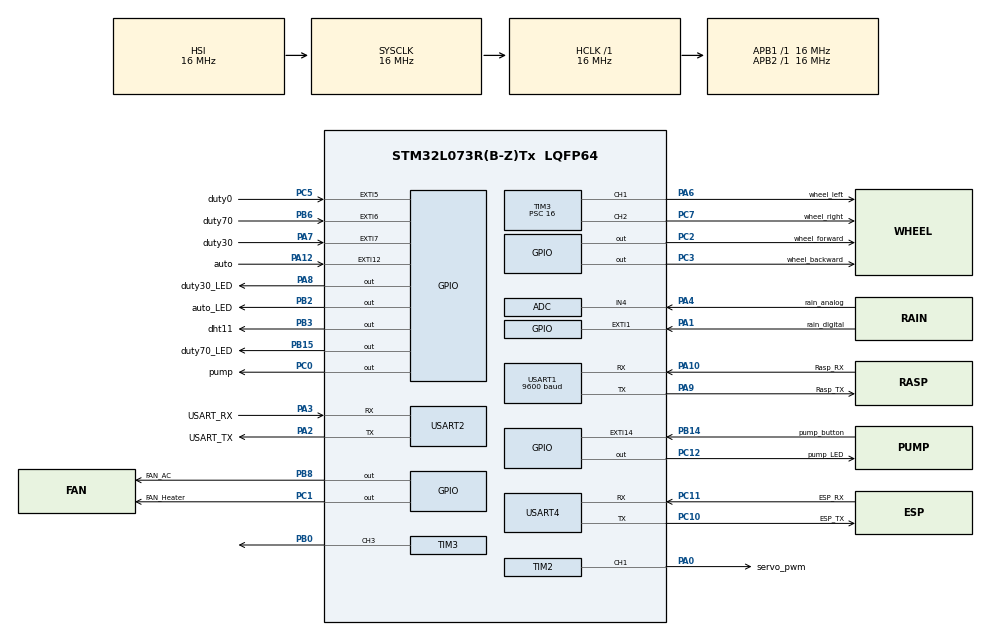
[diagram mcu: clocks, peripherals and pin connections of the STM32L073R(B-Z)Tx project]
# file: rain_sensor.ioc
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Mcu.Family=STM32L0
Mcu.Name=STM32L073R(B-Z)Tx
Mcu.Package=LQFP64
NVIC.EXTI0_1_IRQn=true\:0\:0\:false\:false\:true\:true\:true\:true
NVIC.EXTI4_15_IRQn=true\:0\:0\:false\:false\:true\:true\:true\:true
NVIC.USART1_IRQn=true\:0\:0\:false\:false\:true\:true\:true\:true
NVIC.USART4_5_IRQn=true\:0\:0\:false\:false\:true\:true\:true\:true
PA0.GPIO_Label=servo_pwm
PA0.Signal=S_TIM2_CH1
PA1.GPIO_Label=rain_digital
PA1.GPIO_ModeDefaultEXTI=GPIO_MODE_IT_RISING_FALLING
PA1.Signal=GPXTI1
PA10.GPIO_Label=Rasp_RX
PA10.Mode=Asynchronous
PA10.Signal=USART1_RX
PA12.GPIO_Label=auto
PA12.GPIO_PuPd=GPIO_PULLUP
PA12.Signal=GPXTI12
PA13.GPIO_Label=TMS
PA13.Mode=Serial_Wire
PA13.Signal=SYS_SWDIO
PA14.GPIO_Label=TCK
PA14.Mode=Serial_Wire
PA14.Signal=SYS_SWCLK
PA2.GPIO_Label=USART_TX
PA2.Mode=Asynchronous
PA2.Signal=USART2_TX
PA3.GPIO_Label=USART_RX
PA3.Mode=Asynchronous
PA3.Signal=USART2_RX
PA4.GPIO_Label=rain_analog
PA4.Mode=IN4
PA4.Signal=ADC_IN4
PA6.GPIO_Label=wheel_left
PA6.Signal=S_TIM3_CH1
PA7.GPIO_Label=duty30
PA7.GPIO_PuPd=GPIO_PULLUP
PA7.Signal=GPXTI7
PA8.GPIO_Label=duty30_LED
PA8.Signal=GPIO_Output
PA9.GPIO_Label=Rasp_TX
PA9.Mode=Asynchronous
PA9.Signal=USART1_TX
PB0.Signal=S_TIM3_CH3
PB14.GPIO_Label=pump_button
PB14.GPIO_PuPd=GPIO_PULLUP
PB14.Signal=GPXTI14
PB15.GPIO_Label=duty70_LED
PB15.Signal=GPIO_Output
PB2.GPIO_Label=auto_LED
PB2.Signal=GPIO_Output
PB3.GPIO_Label=dht11
PB3.Signal=GPIO_Output
PB6.GPIO_Label=duty70
PB6.GPIO_PuPd=GPIO_PULLUP
PB6.Signal=GPXTI6
PB8.GPIO_Label=FAN_AC
PB8.Signal=GPIO_Output
PC0.GPIO_Label=pump
PC0.Signal=GPIO_Output
PC1.GPIO_Label=FAN_Heater
PC1.Signal=GPIO_Output
PC10.GPIO_Label=ESP_TX
PC10.Mode=Asynchronous
PC10.Signal=USART4_TX
PC11.GPIO_Label=ESP_RX
PC11.Mode=Asynchronous
PC11.Signal=USART4_RX
PC12.GPIO_Label=pump_LED
PC12.Signal=GPIO_Output
PC14-OSC32_IN.Mode=LSE-External-Oscillator
PC14-OSC32_IN.Signal=RCC_OSC32_IN
PC15-OSC32_OUT.Mode=LSE-External-Oscillator
PC15-OSC32_OUT.Signal=RCC_OSC32_OUT
PC2.GPIO_Label=wheel_forward
PC2.Signal=GPIO_Output
PC3.GPIO_Label=wheel_backward
PC3.Signal=GPIO_Output
PC5.GPIO_Label=duty0
PC5.GPIO_PuPd=GPIO_PULLUP
PC5.Signal=GPXTI5
PC7.GPIO_Label=wheel_right
PC7.Signal=S_TIM3_CH2
PH0-OSC_IN.GPIO_Label=MCO
PH0-OSC_IN.Mode=HSE-External-Clock-Source
PH0-OSC_IN.Signal=RCC_OSC_IN
ProjectManager.HeapSize=0x200
ProjectManager.StackSize=0x400
ProjectManager.TargetToolchain=STM32CubeIDE
RCC.AHBFreq_Value=16000000
RCC.APB1Freq_Value=16000000
RCC.APB1TimFreq_Value=16000000
RCC.APB2Freq_Value=16000000
RCC.APB2TimFreq_Value=16000000
RCC.HCLKFreq_Value=16000000
RCC.HSE_VALUE=8000000
RCC.HSI16_VALUE=16000000
RCC.HSI48_VALUE=48000000
RCC.HSI_VALUE=16000000
RCC.MSI_VALUE=2097000
RCC.SYSCLKFreq_VALUE=16000000
RCC.SYSCLKSource=RCC_SYSCLKSOURCE_HSI
RCC.VCOOutputFreq_Value=48000000
SH.S_TIM2_CH1.0=TIM2_CH1,PWM Generation1 CH1
SH.S_TIM3_CH1.0=TIM3_CH1,PWM Generation1 CH1
SH.S_TIM3_CH2.0=TIM3_CH2,PWM Generation2 CH2
SH.S_TIM3_CH3.0=TIM3_CH3,PWM Generation3 CH3
TIM2.Channel-PWM\ Generation1\ CH1=TIM_CHANNEL_1
TIM2.Period=19999
TIM2.Prescaler=16
TIM3.Channel-PWM\ Generation1\ CH1=TIM_CHANNEL_1
TIM3.Channel-PWM\ Generation2\ CH2=TIM_CHANNEL_2
TIM3.Channel-PWM\ Generation3\ CH3=TIM_CHANNEL_3
TIM3.Period=1000
TIM3.Prescaler=16
TIM6.Prescaler=15
USART1.BaudRate=9600
USART1.VirtualMode-Asynchronous=VM_ASYNC
USART2.VirtualMode-Asynchronous=VM_ASYNC
USART4.VirtualMode-Asynchronous=VM_ASYNC
VP_TIM2_VS_ClockSourceINT.Mode=Internal
VP_TIM6_VS_ClockSourceINT.Mode=Enable_Timer
board=NUCLEO-L073RZ

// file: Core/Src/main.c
/* USER CODE BEGIN Header */
/**
  ******************************************************************************
  * @file           : main.c
  * @brief          : Main program body
  ******************************************************************************
  * @attention
  *
  * Copyright (c) 2026 STMicroelectronics.
  * All rights reserved.
  *
  * This software is licensed under terms that can be found in the LICENSE file
  * in the root directory of this software component.
  * If no LICENSE file comes with this software, it is provided AS-IS.
  *
  ******************************************************************************
  */
/* USER CODE END Header */
#include "main.h"
#include "adc.h"
#include "tim.h"
#include "usart.h"
#include "gpio.h"

/* USER CODE BEGIN Includes */
#include "sensor_interface.h"
#include "wiper_servo.h"
#include "rain_sensor.h"
#include <stdint.h>
#include "led_control.h"
#include "dht11.h"

#include <stdio.h>
#include <string.h>
#include <stdlib.h>
/* USER CODE END Includes */

/* USER CODE BEGIN PD */
#define BTN_DEBOUNCE_MS 60   // 인터럽트 바운스 억제(단순 필터)

/* USER CODE END PD */

/* USER CODE BEGIN PV */
WiperServo_t g_wiper;
WiperServo_t *pWiper;
uint8_t rx_data;

// 버튼별 마지막 인터럽트 시간(디바운스)
static volatile uint32_t g_irq_last_30 = 0;
static volatile uint32_t g_irq_last_70 = 0;
static volatile uint32_t g_irq_last_0  = 0;
static volatile uint32_t g_irq_last_auto = 0;
static volatile uint32_t g_irq_last_washer = 0;

//통신코드 시작
#define RX_BUF_SIZE 64
volatile uint8_t new_control_received = 0;

char rx_buf[RX_BUF_SIZE];
uint8_t rx_idx = 0;
uint8_t rx_byte;

// ESP32로부터 받을 제어 값
int32_t target_speed = 0;
int32_t target_steering = 0;
int32_t target_speed1 = 0; // 추가
int32_t target_speed2 = 0; // 추가
int32_t target_off = 0;    // 추가
int32_t target_auto = 0;   // 추가
int32_t target_water = 0;  // 추가

volatile uint8_t data_ready_flag = 0; // 데이터 수신 완료 플래그 추가
//통신코드 끝

// esp 웹서버용 전역변수
int32_t btn_speed_1 = 0;
int32_t btn_speed_2 = 0;
int32_t btn_off = 0;
int32_t btn_auto = 0;
int32_t btn_water =0;

/* USER CODE END PV */

void SystemClock_Config(void);

/* USER CODE BEGIN 0 */

/**
 * @brief EXTI 콜백 (버튼 누르는 순간만 들어옴)
 *        - STOP > FAST > SLOW 우선순위는 "동시에 눌렀을 때"만 의미가 있는데,
 *          인터럽트는 핀별로 들어오니 여기서는 눌린 버튼에 해당하는 모드로 즉시 전환.
 *        - 바운스는 now-last < BTN_DEBOUNCE_MS 이면 무시하는 방식.
 */

void HAL_GPIO_EXTI_Callback(uint16_t GPIO_Pin){
   if (GPIO_Pin == RAIN_D0_PIN){ // D0에서 인터럽트가 발생했다면
      if (HAL_GPIO_ReadPin(RAIN_D0_PORT, RAIN_D0_PIN) == GPIO_PIN_RESET){
         is_raining = true; // 비 오는 상태
         }
      else{
         is_raining = false; // 건조 상태
      }
   }
   uint32_t now = HAL_GetTick();

   if (GPIO_Pin == duty0_Pin) {                // STOP (PC5)
      if ((now - g_irq_last_0) < BTN_DEBOUNCE_MS) return;
      g_irq_last_0 = now;
      WiperServo_SetMode(&g_wiper, WIPER_MODE_STOP, now);
      LED_Control_Update(LED_MODE_OFF);
   }
   else if (GPIO_Pin == duty70_Pin) {          // FAST (PC4)
      if ((now - g_irq_last_70) < BTN_DEBOUNCE_MS) return;
       g_irq_last_70 = now;
       WiperServo_SetMode(&g_wiper, WIPER_MODE_FAST, now);
       LED_Control_Update(LED_MODE_FAST);
   }
   else if (GPIO_Pin == duty30_Pin) {          // SLOW (PA7)
      if ((now - g_irq_last_30) < BTN_DEBOUNCE_MS) return;
       g_irq_last_30 = now;
       WiperServo_SetMode(&g_wiper, WIPER_MODE_SLOW, now);
       LED_Control_Update(LED_MODE_SLOW);
   }
   else if (GPIO_Pin == auto_Pin) {            // AUTO 버튼
      //LED_Control_Update(LED_MODE_AUTO);      // AUTO LED 켜기
      if((now - g_irq_last_auto) < BTN_DEBOUNCE_MS) return;
         g_irq_last_auto = now;
         // active-low 구성(Pull-up) 기준: 눌리면 RESET
         if (HAL_GPIO_ReadPin(auto_GPIO_Port, auto_Pin) == GPIO_PIN_RESET) {
            AutoButton_Toggle();      // 여기서 AUTO ON/OFF만 바꿈
         }
      LED_Control_Update(LED_MODE_AUTO);      // AUTO LED 켜기
   }
   else if (GPIO_Pin == pump_button_Pin ){ 		// pump 버튼
	   if ((now - g_irq_last_washer) < BTN_DEBOUNCE_MS) return;
	   g_irq_last_washer = now;

	   HAL_GPIO_WritePin(GPIOC, GPIO_PIN_0, GPIO_PIN_SET); // PC0 HIGH → 릴레이 ON

	   LED_Control_Update(LED_MODE_PUMP); // 펌프 버튼 누르면 불들어옴--확인용

   }

}

void HAL_UART_RxCpltCallback(UART_HandleTypeDef *huart) {
	if (huart->Instance == USART1) {
		// 현재 모드가 AUTO일 때만 라즈베리파이의 카메라 인식 결과를 반영
		if (LED_Control_GetCurrentMode() == LED_MODE_AUTO) {
			printf("rasp_start");
			// 데이터가 아스키(ASCII) 문자로 올 경우를 대비해 '0', '1', '2'로 체크
			if (rx_data == '0' || rx_data == 0) {
				printf("rasp0");
				WiperServo_SetMode(&g_wiper, WIPER_MODE_STOP, HAL_GetTick());
			}
			else if (rx_data == '1' || rx_data == 1) {
				printf("rasp1");
				WiperServo_SetMode(&g_wiper, WIPER_MODE_SLOW, HAL_GetTick());
			}
			else if (rx_data == '2' || rx_data == 2) {
				printf("rasp2");
				WiperServo_SetMode(&g_wiper, WIPER_MODE_FAST, HAL_GetTick());
			}
		}
		// 다음 데이터를 받기 위해 인터럽트 재활성화 (중요!)
		HAL_UART_Receive_IT(&huart1, &rx_data, 1);
	}
    else if (huart->Instance == USART4) { // ESP32가 연결된 UART3일 경우
		// 종료 문자를 만나면 (데이터 끝)
		if (rx_byte == '>' || rx_byte == '\n' || rx_byte == '\r') {
			rx_buf[rx_idx] = '\0'; // 문자열 끝 표시
			data_ready_flag = 1;   // 메인 루프에 알림
		}
		// 시작 문자를 만나면 (데이터 시작)
		else if (rx_byte == '<') {
			rx_idx = 0;
		}
		// 일반 데이터인 경우 버퍼에 저장
		else if (rx_idx < RX_BUF_SIZE - 1) {
			rx_buf[rx_idx++] = rx_byte;
		}

		// 다음 1바이트를 받기 위해 다시 인터럽트 활성화 (필수!)
		HAL_UART_Receive_IT(&huart4, &rx_byte, 1);
	}

}

/* USER CODE END 0 */

int main(void)
{

  /* MCU Configuration--------------------------------------------------------*/

  /* Reset of all peripherals, Initializes the Flash interface and the Systick. */
  HAL_Init();

  /* Configure the system clock */
  SystemClock_Config();

  /* Initialize all configured peripherals */
  MX_GPIO_Init();
  MX_USART2_UART_Init();
  MX_ADC_Init();
  MX_TIM2_Init();
  MX_USART1_UART_Init();
  MX_TIM3_Init();
  MX_USART4_UART_Init();
  MX_TIM6_Init();
  /* USER CODE BEGIN 2 */
  RainSensor_Init(&hadc);
  WiperServo_Init(&g_wiper, &htim2, TIM_CHANNEL_1);
  WiperServo_Start(&g_wiper);
  AutoButton_Init();
  DHT11_Init();

  printf("System Started. Waiting for ESP32...\r\n"); // 디버깅용 코드

  // UART4(ESP32 연결용) 인터럽트 수신 시작
  HAL_UART_Receive_IT(&huart4, &rx_byte, 1);

  // UART2
  // 1. PWM 출력 시작 (중요!)
  HAL_TIM_PWM_Start(&htim3, TIM_CHANNEL_1);
  HAL_TIM_PWM_Start(&htim3, TIM_CHANNEL_3);

  // UART1
  HAL_UART_Receive_IT(&huart1, &rx_data, 1);

  // 시작은 STOP 상태로 두고 싶으면:
  WiperServo_SetMode(&g_wiper, WIPER_MODE_STOP, HAL_GetTick());

  //SensorInterface_Init(&hadc, &htim2);
  //DHT11_Init();

  //UART 신호 받는 부분
  //HAL_UART_Receive_IT(&huart1, &rx_data, 1); // Raspberry 신호 수신
  //HAL_UART_Receive_IT(&huart4, &rx_data, 1); // ESP32 신호 수신 ====================> 태정이랑 같이 작업 할 부분 !!!
  /* USER CODE END 2 */

  /* Infinite loop */
  while (1)
  {

    /* USER CODE BEGIN 3 */
	  //printf("humidity: %d\r\n",DHT11_SensorData.Humidity);
	  //printf("temperature: %d\r\n",DHT11_SensorData.Temperature);

	uint32_t now = HAL_GetTick();

   // 1. 현재 모드가 AUTO인지 확인
   if (LED_Control_GetCurrentMode() == LED_MODE_AUTO) {
    SensorInterface_SyncRainToServo(&g_wiper); // 빗물값에 따라 속도 제어
   }
	  //printf("humidity: 112%d\r\n",DHT11_SensorData.Humidity);
	  //printf("temperature: 123%d\r\n",DHT11_SensorData.Temperature);
	//printf("DHT value: %d\n",DHT11_ReadData());

   // 자동 냉난방 시스템
   //uint8_t ok = DHT11_ReadData();
   //printf("DHT ok=%d | H=%d | T=%d\r\n", ok, DHT11_SensorData.Humidity, DHT11_SensorData.Temperature);

   if (DHT11_ReadData()){
    FAN_Control();
    HAL_Delay(500);
   }

   // 디버깅용
   //printf("humidity: 113332%d\r\n",DHT11_SensorData.Humidity);
   //printf("temperature: 133323%d\r\n",DHT11_SensorData.Temperature);

   //HAL_Delay(3000);

   RainSensor_ReadPercentage();

   // 4. 와이퍼 서보 실제 구동 (주기적 호출 필수)
   WiperServo_Task(&g_wiper, now);

   // 펌프 제어 코드. 핀맵만 설정해주면 자동으로 펌프작동됨. 스위치를 눌러서 작동하도록 수정해야함.
   //HAL_GPIO_WritePin(GPIOC, GPIO_PIN_0, GPIO_PIN_SET); // PC0 HIGH → 릴레이 ON
   //HAL_GPIO_WritePin(GPIOC, GPIO_PIN_0, GPIO_PIN_SET); // PC0 HIGH → 릴레이 ON
   //HAL_Delay(5000);
   //HAL_GPIO_WritePin(GPIOC, GPIO_PIN_0, GPIO_PIN_RESET); // PC0 HIGH → 릴레이 ON
   //HAL_Delay(5000);

   /*if (data_ready_flag) {
	  // 데이터 포맷: "속도,조향,sp1,sp2,off,auto,water"
	  // 예: "100,-20,1,0,0,1,50"

	  // sscanf로 7개의 값을 순서대로 파싱하여 변수에 저장
	  if (sscanf(rx_buf, "%ld,%ld,%ld,%ld,%ld,%ld,%ld",
				 &target_speed, &target_steering,
				 &target_speed1, &target_speed2,
				 &target_off, &target_auto, &target_water) == 7) {

		  // 1. 모터 제어는 기존대로 speed와 steering만 사용해서 즉시 반영
		  Update_Motor_Control(target_speed, target_steering);

		  // 2. 디버그 출력 (7개 값 모두 확인)
		  printf("RX: Spd:%ld, Str:%ld, S1:%ld, S2:%ld, Off:%ld, Auto:%ld, Wat:%ld\r\n",
				 target_speed, target_steering,
				 target_speed1, target_speed2,
				 target_off, target_auto, target_water);

		  // 3. (옵션) 추가된 변수에 따른 동작이 필요하면 여기에 작성
		  // 예: if (target_auto == 1) { ... }
	  }

	  data_ready_flag = 0;
	  rx_idx = 0;
  }*/
   /* USER CODE BEGIN 3 */
      // ... (기존 코드 생략) ...

      // UART 데이터 수신 완료 시 처리
   if (data_ready_flag) {
           // [중요] 이전 상태를 기억하기 위한 정적 변수 선언
           // static 변수는 함수가 종료되어도 값이 유지됩니다.
           static int32_t prev_speed = 0;
           static int32_t prev_steering = 0;
           static int32_t prev_speed1 = 0;
           static int32_t prev_speed2 = 0;
           static int32_t prev_off = 0;
           static int32_t prev_auto = 0;
           static int32_t prev_water = 0;

           // 데이터 파싱
           if (sscanf(rx_buf, "%ld,%ld,%ld,%ld,%ld,%ld,%ld",
                      &target_speed, &target_steering,
                      &target_speed1, &target_speed2,
                      &target_off, &target_auto, &target_water) == 7) {

               // 1. 모터 제어 (값이 바뀌었을 때만 업데이트)
               if (target_speed != prev_speed || target_steering != prev_steering) {
                   Update_Motor_Control(target_speed, target_steering);
                   prev_speed = target_speed;
                   prev_steering = target_steering;
               }

               uint32_t current_time = HAL_GetTick();

               // 2. 와이퍼 모드 제어 (0 -> 1 로 변하는 순간만 동작)

               // (1) 정지 명령
               if (target_off == 1 && prev_off == 0) {
                   WiperServo_SetMode(&g_wiper, WIPER_MODE_STOP, current_time);
                   LED_Control_Update(LED_MODE_OFF);
                   printf("CMD: Wiper STOP (Executed)\r\n");
               }
               prev_off = target_off; // 현재 상태 저장

               // (2) 고속 명령
               if (target_speed2 == 1 && prev_speed2 == 0) {
                   WiperServo_SetMode(&g_wiper, WIPER_MODE_FAST, current_time);
                   LED_Control_Update(LED_MODE_FAST);
                   printf("CMD: Wiper FAST (Executed)\r\n");
               }
               prev_speed2 = target_speed2;

               // (3) 저속 명령
               if (target_speed1 == 1 && prev_speed1 == 0) {
                   WiperServo_SetMode(&g_wiper, WIPER_MODE_SLOW, current_time);
                   LED_Control_Update(LED_MODE_SLOW);
                   printf("CMD: Wiper SLOW (Executed)\r\n");
               }
               prev_speed1 = target_speed1;

               // 3. AUTO 모드 (가장 중요: 0->1 변하는 순간 한 번만 토글)
               if (target_auto == 1 && prev_auto == 0) {
                   AutoButton_Toggle();
                   LED_Control_Update(LED_MODE_AUTO);
                   printf("CMD: Auto Mode Toggle (Executed)\r\n");
               }
               prev_auto = target_auto;

               // 4. 워셔액 펌프 (상태가 변했을 때만 GPIO 쓰기)
               if (target_water != prev_water) {
                   if (target_water == 1) {
                       HAL_GPIO_WritePin(GPIOC, GPIO_PIN_0, GPIO_PIN_SET); // ON
                   } else {
                       // 펌프 끌 때, 물리 버튼이 안 눌려있는지 체크(안전장치)
                       if(HAL_GPIO_ReadPin(pump_button_GPIO_Port, pump_button_Pin) != GPIO_PIN_RESET) {
                           HAL_GPIO_WritePin(GPIOC, GPIO_PIN_0, GPIO_PIN_RESET); // OFF
                       }
                   }
                   prev_water = target_water;
               }
           }

           // 수신 플래그 초기화
           data_ready_flag = 0;
           rx_idx = 0;
       }
  }
  /* USER CODE END 3 */
}

void SystemClock_Config(void)
{
  RCC_OscInitTypeDef RCC_OscInitStruct = {0};
  RCC_ClkInitTypeDef RCC_ClkInitStruct = {0};
  RCC_PeriphCLKInitTypeDef PeriphClkInit = {0};

  /** Configure the main internal regulator output voltage
  */
  __HAL_PWR_VOLTAGESCALING_CONFIG(PWR_REGULATOR_VOLTAGE_SCALE1);

  /** Initializes the RCC Oscillators according to the specified parameters
  * in the RCC_OscInitTypeDef structure.
  */
  RCC_OscInitStruct.OscillatorType = RCC_OSCILLATORTYPE_HSI;
  RCC_OscInitStruct.HSIState = RCC_HSI_ON;
  RCC_OscInitStruct.HSICalibrationValue = RCC_HSICALIBRATION_DEFAULT;
  RCC_OscInitStruct.PLL.PLLState = RCC_PLL_NONE;
  if (HAL_RCC_OscConfig(&RCC_OscInitStruct) != HAL_OK)
  {
    Error_Handler();
  }

  /** Initializes the CPU, AHB and APB buses clocks
  */
  RCC_ClkInitStruct.ClockType = RCC_CLOCKTYPE_HCLK|RCC_CLOCKTYPE_SYSCLK
                              |RCC_CLOCKTYPE_PCLK1|RCC_CLOCKTYPE_PCLK2;
  RCC_ClkInitStruct.SYSCLKSource = RCC_SYSCLKSOURCE_HSI;
  RCC_ClkInitStruct.AHBCLKDivider = RCC_SYSCLK_DIV1;
  RCC_ClkInitStruct.APB1CLKDivider = RCC_HCLK_DIV1;
  RCC_ClkInitStruct.APB2CLKDivider = RCC_HCLK_DIV1;

  if (HAL_RCC_ClockConfig(&RCC_ClkInitStruct, FLASH_LATENCY_0) != HAL_OK)
  {
    Error_Handler();
  }
  PeriphClkInit.PeriphClockSelection = RCC_PERIPHCLK_USART1|RCC_PERIPHCLK_USART2;
  PeriphClkInit.Usart1ClockSelection = RCC_USART1CLKSOURCE_PCLK2;
  PeriphClkInit.Usart2ClockSelection = RCC_USART2CLKSOURCE_PCLK1;
  if (HAL_RCCEx_PeriphCLKConfig(&PeriphClkInit) != HAL_OK)
  {
    Error_Handler();
  }
}

/* USER CODE BEGIN 4 */
int _write(int file, char *ptr, int len)
{
    HAL_UART_Transmit(&huart2, (uint8_t *)ptr, len, HAL_MAX_DELAY);
    return len;
}

void Update_Motor_Control(int32_t raw_speed, int32_t raw_steering) {
    // 1. 전진/후진 방향 결정 및 절대값 변환
    int32_t abs_speed = raw_speed;

    if (raw_speed >= 0) {
        // 전진 모드 (Speed: 0 ~ 100)
        HAL_GPIO_WritePin(GPIOC, GPIO_PIN_2, GPIO_PIN_SET);   // DIR A
        HAL_GPIO_WritePin(GPIOC, GPIO_PIN_3, GPIO_PIN_RESET); // DIR B
    } else {
        // 후진 모드 (Speed: -100 ~ 0)
        HAL_GPIO_WritePin(GPIOC, GPIO_PIN_2, GPIO_PIN_RESET);
        HAL_GPIO_WritePin(GPIOC, GPIO_PIN_3, GPIO_PIN_SET);
        abs_speed = -raw_speed; // 계산을 위해 양수로 변환
    }

    // 2. 기본 속도 설정
    int32_t left_pwr = abs_speed;
    int32_t right_pwr = abs_speed;

    // 3. 조향 로직 적용 (안쪽 바퀴 감속 방식)
    // raw_steering: -100(좌) ~ 0(직진) ~ +100(우)
    if (raw_steering > 0) {
        // 우회전: 오른쪽 바퀴를 감속 (steering 값만큼 뺌)
        right_pwr = abs_speed - raw_steering;
    }
    else if (raw_steering < 0) {
        // 좌회전: 왼쪽 바퀴를 감속 (steering이 음수이므로 더하면 뺼셈 효과)
        left_pwr = abs_speed + raw_steering;
    }

    // 4. 값 범위 안전장치 (0 미만으로 떨어지는 것 방지)
    if (left_pwr < 0) left_pwr = 0;
    if (right_pwr < 0) right_pwr = 0;

    // 입력이 100을 넘을 경우를 대비한 컷오프
    if (left_pwr > 100) left_pwr = 100;
    if (right_pwr > 100) right_pwr = 100;

    // 5. PWM 스케일링 (입력 0~100 --> 타이머 0~1000)
    left_pwr *= 10;
    right_pwr *= 10;

    // 6. 실제 PWM 레지스터에 적용
    __HAL_TIM_SET_COMPARE(&htim3, TIM_CHANNEL_1, left_pwr);  // 왼쪽 모터
    __HAL_TIM_SET_COMPARE(&htim3, TIM_CHANNEL_3, right_pwr); // 오른쪽 모터

    // 디버그 출력 (확인용)
     printf("Mode:%s | In(%ld, %ld) -> Out(%ld, %ld)\r\n",
            (raw_speed >= 0 ? "FWD" : "BWD"), abs_speed, raw_steering, left_pwr, right_pwr);
}
// 에러 발생 시(통신 노이즈 등) 다시 수신 상태로 복구
void HAL_UART_ErrorCallback(UART_HandleTypeDef *huart) {
    if (huart->Instance == USART4) {
        HAL_UART_Receive_IT(&huart4, &rx_byte, 1);
    }
}

/* USER CODE END 4 */

void Error_Handler(void)
{
  __disable_irq();
  while (1)
  {
  }
}
